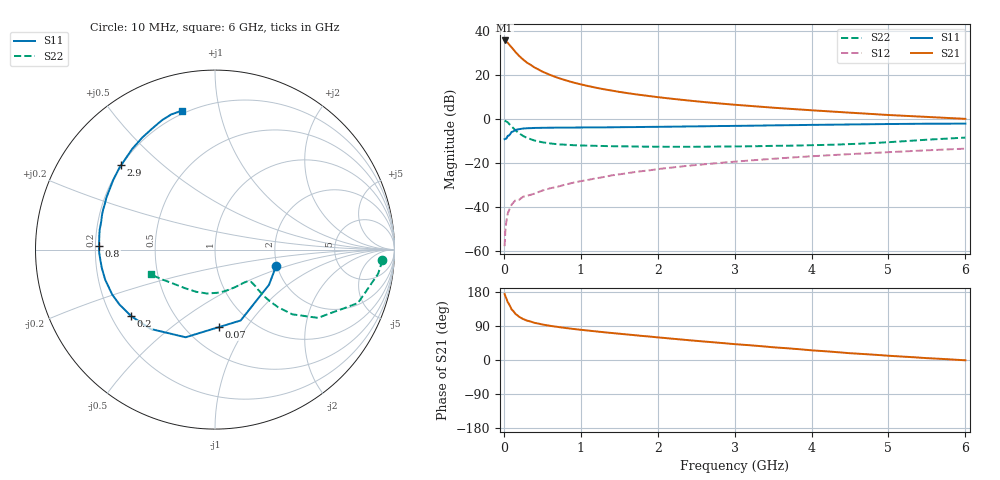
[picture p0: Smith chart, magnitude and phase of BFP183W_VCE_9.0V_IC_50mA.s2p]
! Infineon Technologies  Discrete & RF Semiconductors
! BFP183W
! VCE =  9.0 V,  IC =  50 mA
! Common Emitter S-Parameters:  Jan 2017
# GHz  S  MA  R  50
!  f  S11  S21  S12  S22
! GHz  MAG  ANG  MAG  ANG  MAG  ANG  MAG  ANG
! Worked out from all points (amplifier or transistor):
!   77 points, 10 MHz to 6 GHz, reference 50 ohm
!   highest |S21| = 35.8 dB at 10 MHz (marker M1)
!   |S21| within 3 dB of that: start of sweep to 97.24 MHz
!   unconditionally stable (mu >= 1): 687.8 MHz to 3.437 GHz
!   at 130 MHz: K = 0.39, MSG = 34.6 dB, |S12| = -37.7 dB
!   at 2.2 GHz: K = 1.08, MAG = 13.8 dB, |S12| = -21.9 dB
!   at 6 GHz: K = 0.85, MSG = 6.8 dB, |S12| = -13.4 dB
!   S11 on the Smith chart (normalised r, x): 10 MHz: 1.98, -0.41; 70 MHz: 0.71, -0.75; 200 MHz: 0.28, -0.32; 800 MHz: 0.21, +0.02; 2.9 GHz: 0.20, +0.37; 6 GHz: 0.18, +0.77
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0.01  0.3528 -14.9  61.89 174.2  0.0013 78.9  0.9345 -3.6
0.02  0.3592 -33.1  60.75 168.2  0.0029 78.9  0.9191 -8.4
0.05  0.42 -70.1  54.93 152.9  0.0071 68.9  0.8501 -20.5
0.07  0.4328 -87.3  49.65 146.3  0.0087 62.6  0.7811 -25.1
0.1  0.5151 -108.5  43.31 133.8  0.0113 56.6  0.689 -33.5
0.15  0.5694 -129.1  34 122.0  0.0143 50.6  0.5625 -39.9
0.2  0.5963 -141.6  27.4 113.9  0.0148 49.8  0.4769 -42.4
0.25  0.6139 -150.1  22.83 108.2  0.0173 49.0  0.4181 -43.3
0.3  0.6251 -156.4  19.42 104.0  0.0181 49.3  0.3765 -43.5
0.4  0.6345 -164.7  14.99 98.0  0.0204 53.0  0.327 -42.9
0.5  0.6388 -170.6  12.13 93.7  0.0239 55.9  0.2996 -42.1
0.6  0.6416 -175.0  10.2 90.2  0.0269 58.0  0.2823 -41.9
0.7  0.6455 -178.6  8.775 87.3  0.0293 60.7  0.27 -41.8
0.8  0.6472 178.1  7.719 84.5  0.0326 62.5  0.2635 -42.4
1.1  0.6519 170.4  5.664 77.6  0.0419 65.4  0.2509 -45.3
1.5  0.6597 162.1  4.191 69.4  0.0558 66.0  0.242 -51.5
2.1  0.6754 150.8  3.041 57.9  0.0769 65.2  0.2365 -64.2
2.9  0.703 138.1  2.212 43.7  0.1049 61.5  0.2401 -85.0
3.1  0.7091 135.1  2.074 40.4  0.1119 60.4  0.2416 -90.2
4.1  0.7472 121.7  1.561 24.2  0.1473 54.2  0.2591 -116.8
5.1  0.7812 111.4  1.224 10.0  0.1819 47.6  0.3083 -143.4
6  0.7957 103.5  1.021 -0.8  0.2146 41.1  0.3831 -158.8
